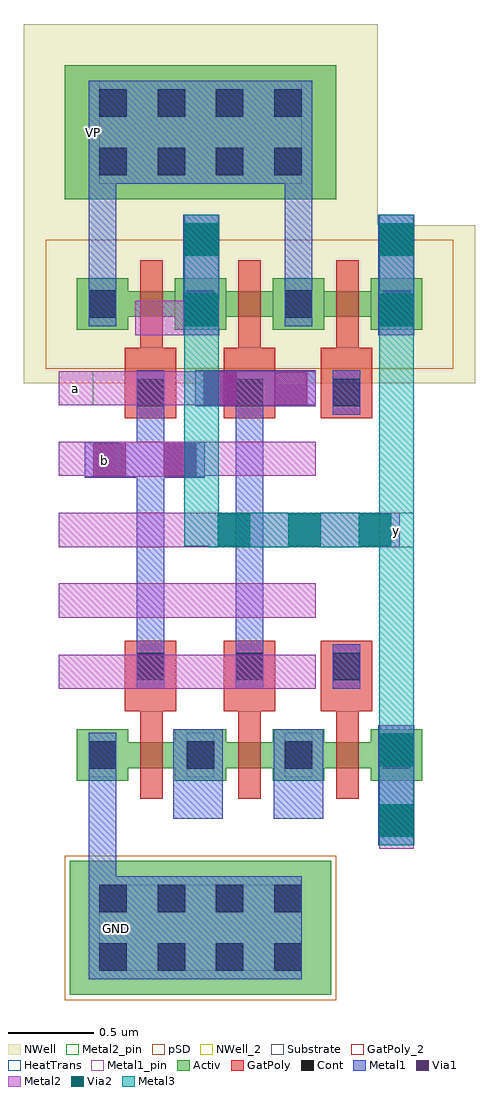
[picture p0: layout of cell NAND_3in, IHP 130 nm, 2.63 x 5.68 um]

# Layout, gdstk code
from math import pi, radians
import gdstk
lib = gdstk.Library(unit=1e-6, precision=1e-09)
def R(c, l, rs):  # rectangles x0, y0, x1, y1
    for r in rs: c.add(gdstk.rectangle(r[:2], r[2:], *l))
def A(c, l, x, y, w, h, nx, ny, dx, dy):  # array of equal rectangles
    R(c, l, [(x+i*dx, y+j*dy, x+i*dx+w, y+j*dy+h) for i in range(nx) for j in range(ny)])
Activ = (1, 0)
GatPoly = (5, 0)
GatPoly_2 = (5, 2)
Cont = (6, 0)
Metal1 = (8, 0)
Metal1_pin = (8, 2)
Metal2 = (10, 0)
Metal2_pin = (10, 2)
pSD = (14, 0)
Via1 = (19, 0)
Via2 = (29, 0)
Metal3 = (30, 0)
NWell = (31, 0)
NWell_2 = (31, 2)
Substrate = (40, 0)
HeatTrans = (51, 0)

nmos = lib.new_cell('nmos')
R(nmos, Activ, [(0,0,0.3,0.3), (0.57,0,0.87,0.3), (0,0.075,0.87,0.225)])
R(nmos, GatPoly, [(0.37,-0.105,0.5,0.405)])
R(nmos, GatPoly_2, [(0.37,-0.105,0.5,0.405)])
R(nmos, Cont, [(0.07,0.07,0.23,0.23), (0.64,0.07,0.8,0.23)])
R(nmos, Metal1, [(0.07,0.02,0.23,0.28), (0.64,0.02,0.8,0.28)])
R(nmos, Metal1_pin, [(0.07,0.02,0.23,0.28), (0.64,0.02,0.8,0.28)])
R(nmos, HeatTrans, [(0.37,-0.105,0.5,0.405)])
nmos.add(gdstk.Label('nmos', (0.435,0.15), layer=63, texttype=0))
nmos.add(gdstk.Label('nmos', (0.435,0.15), layer=51, texttype=0))

ptap1 = lib.new_cell('ptap1')
R(ptap1, Activ, [(0,0,1.52,0.78)])
A(ptap1, Cont, 0.17, 0.14, 0.16, 0.16, 4, 2, 0.34, 0.34)
R(ptap1, Metal1, [(0.17,0.09,1.35,0.69), (0.17,0.14,1.35,0.64)])
R(ptap1, Metal1_pin, [(0.17,0.14,1.35,0.64)])
R(ptap1, pSD, [(-0.03,-0.03,1.55,0.81)])
R(ptap1, Substrate, [(0,0,1.52,0.78)])
ptap1.add(gdstk.Label('sub!', (0.76,0.01), layer=63, texttype=0))
ptap1.add(gdstk.Label('sub!', (0.76,0.01), layer=40, texttype=0))

via_10 = lib.new_cell('Via$10')
R(via_10, GatPoly, [(-0.15,-0.15,0.15,0.15)])
R(via_10, Cont, [(-0.08,-0.08,0.08,0.08)])
R(via_10, Metal1, [(-0.13,-0.08,0.13,0.08)])

via = lib.new_cell('Via')
R(via, Metal1, [(-0.105,-0.35,0.105,0.35)])
R(via, Metal2, [(-0.1,-0.35,0.1,0.35)])
R(via, Via1, [(-0.095,-0.3,0.095,-0.11), (-0.095,0.11,0.095,0.3)])

via_2 = lib.new_cell('Via$2')
R(via_2, Metal2, [(-0.1,-0.35,0.1,0.35)])
R(via_2, Via2, [(-0.095,-0.3,0.095,-0.11), (-0.095,0.11,0.095,0.3)])
R(via_2, Metal3, [(-0.1,-0.35,0.1,0.35)])

pmos = lib.new_cell('pmos')
R(pmos, Activ, [(0,0,0.3,0.3), (0.57,0,0.87,0.3), (0,0.075,0.87,0.225)])
R(pmos, GatPoly, [(0.37,-0.105,0.5,0.405), (0.37,-0.105,0.5,0.405)])
R(pmos, Cont, [(0.07,0.07,0.23,0.23), (0.64,0.07,0.8,0.23)])
R(pmos, Metal1, [(0.07,0.02,0.23,0.28), (0.07,0.02,0.23,0.28), (0.64,0.02,0.8,0.28), (0.64,0.02,0.8,0.28)])
R(pmos, pSD, [(-0.18,-0.225,1.05,0.525)])
R(pmos, NWell, [(-0.31,-0.31,1.18,0.61)])
R(pmos, Substrate, [(0.57,0,0.87,0.3)])
R(pmos, HeatTrans, [(0.37,-0.105,0.5,0.405)])
pmos.add(gdstk.Label('pmos', (0.435,0.15), layer=63, texttype=0))
pmos.add(gdstk.Label('pmos', (0.435,0.15), layer=51, texttype=0))

ntap1 = lib.new_cell('ntap1')
R(ntap1, Activ, [(0,0,1.58,0.78)])
A(ntap1, Cont, 0.2, 0.14, 0.16, 0.16, 4, 2, 0.34, 0.34)
R(ntap1, Metal1, [(0.2,0.09,1.38,0.69)])
R(ntap1, Metal1_pin, [(0.2,0.09,1.38,0.69), (0.2,0.14,1.38,0.64)])
R(ntap1, NWell, [(-0.24,-0.24,1.82,1.02), (0,0,1.58,0.78)])
R(ntap1, NWell_2, [(0,0,1.58,0.78)])
ntap1.add(gdstk.Label('well', (0.79,0.01), layer=63, texttype=0))
ntap1.add(gdstk.Label('well', (0.79,0.01), layer=31, texttype=0))

via_3 = lib.new_cell('Via$3')
R(via_3, Metal2, [(-0.555,-0.1,0.555,0.1)])
A(via_3, Via2, -0.505, -0.095, 0.19, 0.19, 3, 1, 0.41, 0)
R(via_3, Metal3, [(-0.555,-0.1,0.555,0.1)])

nand_3in = lib.new_cell('NAND_3in')
R(nand_3in, GatPoly, [(6.865,7.06,7.165,7.17), (7.44,7.06,7.74,7.17), (8.005,7.06,8.305,7.17), (6.865,9.065,7.165,9.175), (7.44,9.065,7.74,9.175), (8.005,9.065,8.305,9.175)])
R(nand_3in, Metal1, [(7.145,6.435,7.435,6.955), (7.73,6.435,8.02,6.955)])
R(nand_3in, Metal1_pin, [(6.715,5.695,6.915,5.895), (6.715,10.33,6.915,10.53)])
R(nand_3in, Metal2_pin, [(8.345,8.015,8.545,8.215), (6.63,8.425,6.83,8.625), (6.48,8.84,6.68,9.04)])
nand_3in.add(gdstk.FlexPath([(8.445,6.63),(8.445,6.63)], 0.16, ends="flush", simple_path=True, layer=8, datatype=0))  # Metal1
nand_3in.add(gdstk.FlexPath([(6.735,6.1),(6.735,5.5)], 0.16, ends="flush", simple_path=True, layer=8, datatype=0))  # Metal1
nand_3in.add(gdstk.FlexPath([(6.735,6.675),(6.735,6.1)], 0.16, ends="flush", simple_path=True, layer=8, datatype=0))  # Metal1
nand_3in.add(gdstk.FlexPath([(7.015,7.365),(7.015,8.675)], 0.16, ends="flush", simple_path=True, layer=8, datatype=0))  # Metal1
nand_3in.add(gdstk.FlexPath([(7.59,7.365),(7.59,8.545)], 0.16, ends="flush", simple_path=True, layer=8, datatype=0))  # Metal1
nand_3in.add(gdstk.FlexPath([(7.875,10.13),(7.875,10.73)], 0.16, ends="flush", simple_path=True, layer=8, datatype=0))  # Metal1
nand_3in.add(gdstk.FlexPath([(6.735,10.13),(6.735,10.73)], 0.16, ends="flush", simple_path=True, layer=8, datatype=0))  # Metal1
nand_3in.add(gdstk.FlexPath([(7.015,8.65),(7.015,8.65)], 0.16, ends="flush", simple_path=True, layer=8, datatype=0))  # Metal1
nand_3in.add(gdstk.FlexPath([(7.59,8.435),(7.59,8.785)], 0.16, ends="flush", simple_path=True, layer=8, datatype=0))  # Metal1
nand_3in.add(gdstk.FlexPath([(7.015,8.785),(7.015,8.565)], 0.16, ends="flush", simple_path=True, layer=8, datatype=0))  # Metal1
nand_3in.add(gdstk.FlexPath([(7.875,9.56),(7.875,10.73)], 0.16, ends="flush", simple_path=True, layer=8, datatype=0))  # Metal1
nand_3in.add(gdstk.FlexPath([(6.735,9.56),(6.735,10.73)], 0.16, ends="flush", simple_path=True, layer=8, datatype=0))  # Metal1
nand_3in.add(gdstk.FlexPath([(7.02,9.175),(7.02,9.175)], 0.16, ends="flush", simple_path=True, layer=5, datatype=0))  # GatPoly
nand_3in.add(gdstk.FlexPath([(8.445,6.63),(8.445,6.63)], 0.2, ends="flush", simple_path=True, layer=10, datatype=0))  # Metal2
nand_3in.add(gdstk.FlexPath([(8.445,6.36),(8.445,6.26)], 0.2, ends="flush", simple_path=True, layer=10, datatype=0))  # Metal2
nand_3in.add(gdstk.FlexPath([(6.48,8.115),(7.975,8.115)], 0.2, ends="flush", simple_path=True, layer=10, datatype=0))  # Metal2
nand_3in.add(gdstk.FlexPath([(6.48,8.53),(7.975,8.53)], 0.2, ends="flush", simple_path=True, layer=10, datatype=0))  # Metal2
nand_3in.add(gdstk.FlexPath([(6.48,7.705),(7.975,7.705)], 0.2, ends="flush", simple_path=True, layer=10, datatype=0))  # Metal2
nand_3in.add(gdstk.FlexPath([(6.48,8.94),(7.975,8.94)], 0.2, ends="flush", simple_path=True, layer=10, datatype=0))  # Metal2
nand_3in.add(gdstk.FlexPath([(7.415,9.35),(6.925,9.35)], 0.2, ends="flush", simple_path=True, layer=10, datatype=0))  # Metal2
nand_3in.add(gdstk.FlexPath([(6.48,7.29),(7.975,7.29)], 0.2, ends="flush", simple_path=True, layer=10, datatype=0))  # Metal2
nand_3in.add(gdstk.FlexPath([(8.445,6.835),(8.445,8.215)], 0.2, ends="flush", simple_path=True, layer=30, datatype=0))  # Metal3
nand_3in.add(gdstk.FlexPath([(8.445,9.39),(8.445,8.02)], 0.2, ends="flush", simple_path=True, layer=30, datatype=0))  # Metal3
nand_3in.add(gdstk.FlexPath([(7.31,9.39),(7.31,8.02)], 0.2, ends="flush", simple_path=True, layer=30, datatype=0))  # Metal3
nand_3in.add(gdstk.Reference(nmos, (6.585,6.655)))
nand_3in.add(gdstk.Reference(ptap1, (6.545,5.41)))
nand_3in.add(gdstk.Reference(via_10, (7.59,7.32), rotation=3*pi/2))
nand_3in.add(gdstk.Reference(via_10, (7.015,7.32), rotation=3*pi/2))
nand_3in.add(gdstk.Reference(via, (8.445,6.63), rotation=pi))
nand_3in.add(gdstk.Reference(via_2, (7.31,9.6), rotation=pi))
nand_3in.add(gdstk.Reference(via, (7.31,9.6), rotation=pi))
nand_3in.add(gdstk.Reference(via, (7.625,8.94), rotation=3*pi/2))
nand_3in.add(gdstk.Reference(via_10, (7.59,8.915), rotation=pi/2))
nand_3in.add(gdstk.Reference(pmos, (7.155,9.28)))
nand_3in.add(gdstk.Reference(via_10, (7.015,8.915), rotation=pi/2))
nand_3in.add(gdstk.Reference(pmos, (6.585,9.28)))
nand_3in.add(gdstk.Reference(via_2, (8.445,6.63), rotation=pi))
nand_3in.add(gdstk.Reference(ntap1, (6.515,10.04)))
nand_3in.add(gdstk.Reference(pmos, (7.725,9.28)))
nand_3in.add(gdstk.Reference(nmos, (7.155,6.655)))
nand_3in.add(gdstk.Reference(nmos, (7.725,6.655)))
nand_3in.add(gdstk.Reference(via_2, (8.445,9.6), rotation=pi))
nand_3in.add(gdstk.Reference(via, (8.445,9.6), rotation=pi))
nand_3in.add(gdstk.Reference(via_3, (7.91,8.115)))
nand_3in.add(gdstk.Reference(via_10, (8.155,7.32), rotation=3*pi/2))
nand_3in.add(gdstk.Reference(via_10, (8.155,8.915), rotation=pi/2))
nand_3in.add(gdstk.Reference(via, (6.98,8.525), rotation=3*pi/2))
nand_3in.add(gdstk.Label('y', (8.445,8.115), layer=10, texttype=25))
nand_3in.add(gdstk.Label('b', (6.745,8.52), layer=10, texttype=25))
nand_3in.add(gdstk.Label('a', (6.58,8.94), layer=10, texttype=25))
nand_3in.add(gdstk.Label('GND', (6.815,5.795), layer=8, texttype=25))
nand_3in.add(gdstk.Label('VP', (6.685,10.43), layer=8, texttype=25))

lib.write_gds('NAND_3in.gds')
